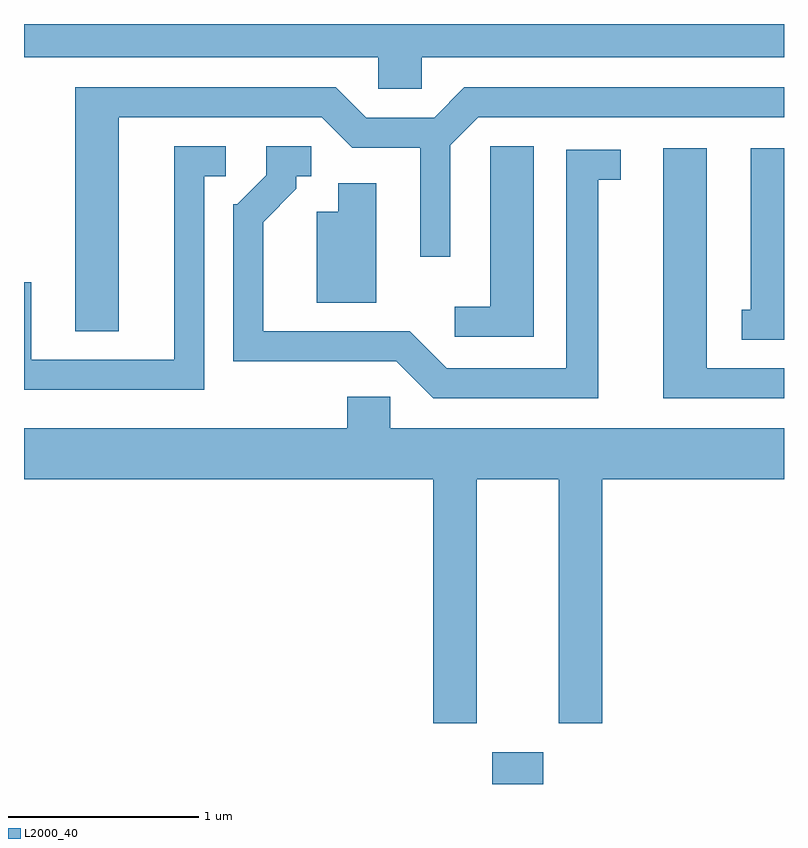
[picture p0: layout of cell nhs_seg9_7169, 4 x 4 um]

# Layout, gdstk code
import gdstk
lib = gdstk.Library(unit=1e-6, precision=1e-09)
def R(c, l, rs):  # rectangles x0, y0, x1, y1
    for r in rs: c.add(gdstk.rectangle(r[:2], r[2:], *l))
def P(c, l, *ps):  # polygons
    for p in ps: c.add(gdstk.Polygon(p, *l))
L2000_40 = (2000, 40)

nhs_seg9_7169 = lib.new_cell('nhs_seg9_7169')
R(nhs_seg9_7169, L2000_40, [(400.076,1992.432,400.344,1992.599)])
P(nhs_seg9_7169, L2000_40, [(399.704,1996.256),(401.611,1996.256),(401.611,1996.432),(397.611,1996.432),(397.611,1996.256),(399.476,1996.256),(399.476,1996.091),(399.704,1996.091)],
  [(398.109,1995.941),(399.179,1995.941),(399.339,1995.781),(399.696,1995.781),(399.696,1995.208),(399.854,1995.208),(399.854,1995.794),(400.002,1995.941),(401.611,1995.941),(401.611,1996.099),(399.929,1996.099),(399.769,1995.939),(399.412,1995.939),(399.252,1996.099),(397.881,1996.099),(397.881,1994.816),(398.109,1994.816)],
  [(398.559,1995.631),(398.673,1995.631),(398.673,1995.789),(398.401,1995.789),(398.401,1994.664),(397.649,1994.664),(397.649,1995.074),(397.611,1995.074),(397.611,1994.506),(398.559,1994.506)],
  [(400.634,1995.611),(400.753,1995.611),(400.753,1995.769),(400.466,1995.769),(400.466,1994.619),(399.837,1994.619),(399.642,1994.814),(398.869,1994.814),(398.869,1995.389),(399.044,1995.564),(399.044,1995.631),(399.123,1995.631),(399.123,1995.789),(398.886,1995.789),(398.886,1995.637),(398.734,1995.484),(398.711,1995.484),(398.711,1994.656),(399.569,1994.656),(399.764,1994.461),(400.634,1994.461)],
  [(400.294,1995.789),(400.066,1995.789),(400.066,1994.944),(399.878,1994.944),(399.878,1994.786),(400.294,1994.786)],
  [(401.611,1994.619),(401.204,1994.619),(401.204,1995.779),(400.976,1995.779),(400.976,1994.461),(401.611,1994.461)],
  [(401.611,1995.779),(401.436,1995.779),(401.436,1994.929),(401.388,1994.929),(401.388,1994.771),(401.611,1994.771)],
  [(399.464,1995.594),(399.266,1995.594),(399.266,1995.444),(399.151,1995.444),(399.151,1994.966),(399.464,1994.966)],
  [(399.994,1994.036),(400.426,1994.036),(400.426,1992.751),(400.654,1992.751),(400.654,1994.036),(401.611,1994.036),(401.611,1994.304),(399.539,1994.304),(399.539,1994.469),(399.311,1994.469),(399.311,1994.304),(397.611,1994.304),(397.611,1994.036),(399.766,1994.036),(399.766,1992.751),(399.994,1992.751)])

lib.write_gds('nhs_seg9_7169.gds')
